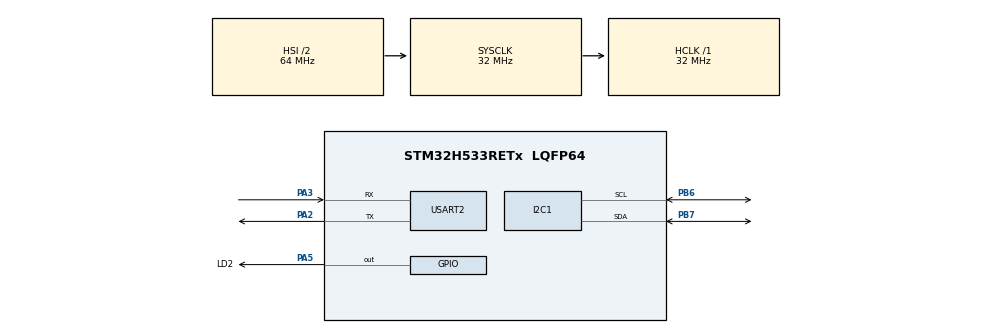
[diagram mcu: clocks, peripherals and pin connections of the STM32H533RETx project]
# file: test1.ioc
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BOOTPATH.BootPathName=LEGACY
BOOTPATH.UserSelectedBootPath=LEGACY
CORTEX_M33_NS.userName=CORTEX_M33
I2C1.Timing=0x00707CBB
Mcu.Family=STM32H5
Mcu.Name=STM32H533RETx
Mcu.Package=LQFP64
NUCLEO-H533RE.LD4=false
NUCLEO-H533RE.VCP=false
NVIC.I2C1_EV_IRQn=true\:0\:0\:false\:false\:true\:true\:true\:true
NVIC.PriorityGroup=NVIC_PRIORITYGROUP_4
NVIC.USART2_IRQn=true\:0\:0\:false\:false\:true\:true\:true\:true
PA13(JTMS/SWDIO).GPIO_Label=SWDIO
PA13(JTMS/SWDIO).Mode=Serial_Wire
PA13(JTMS/SWDIO).Signal=DEBUG_JTMS-SWDIO
PA14(JTCK/SWCLK).GPIO_Label=SWCLK
PA14(JTCK/SWCLK).Mode=Serial_Wire
PA14(JTCK/SWCLK).Signal=DEBUG_JTCK-SWCLK
PA15(JTDI).GPIO_Label=JTDI
PA15(JTDI).Signal=DEBUG_JTDI
PA2.Mode=Asynchronous
PA2.Signal=USART2_TX
PA3.Mode=Asynchronous
PA3.Signal=USART2_RX
PA5.GPIO_Label=LD2
PA5.Signal=GPIO_Output
PB3(JTDO/TRACESWO).GPIO_Label=SWO
PB3(JTDO/TRACESWO).Signal=DEBUG_JTDO-SWO
PB6.Mode=I2C
PB6.Signal=I2C1_SCL
PB7.Mode=I2C
PB7.Signal=I2C1_SDA
ProjectManager.HeapSize=0x200
ProjectManager.StackSize=0x400
ProjectManager.TargetToolchain=STM32CubeIDE
RCC.ADCFreq_Value=32000000
RCC.AHBFreq_Value=32000000
RCC.APB1Freq_Value=32000000
RCC.APB1TimFreq_Value=32000000
RCC.APB2Freq_Value=32000000
RCC.APB2TimFreq_Value=32000000
RCC.APB3Freq_Value=32000000
RCC.CSI_VALUE=4000000
RCC.CortexFreq_Value=32000000
RCC.EPOD_VALUE=4000000
RCC.HCLKFreq_Value=32000000
RCC.HSE_VALUE=25000000
RCC.HSI48_VALUE=48000000
RCC.HSI_VALUE=64000000
RCC.LSE_VALUE=32768
RCC.LSIRC_VALUE=32000
RCC.SYSCLKFreq_VALUE=32000000
RCC.USBFreq_Value=48000000
RCC.VCOOutputFreq_Value=516000000
USART2.VirtualMode-Asynchronous=VM_ASYNC
VP_BOOTPATH_VS_BOOTPATH.Mode=BP_Activate
VP_CORTEX_M33_NS_VS_Hclk.Mode=Hclk_Mode
VP_MEMORYMAP_VS_MEMORYMAP.Mode=CurAppReg
VP_NUCLEO-H533RE_VS_BSP_COMMON.Mode=COMMON
VP_PWR_VS_LPOM.Mode=PowerOptimisation
VP_PWR_VS_SECSignals.Mode=Security/Privilege
board=NUCLEO-H533RE

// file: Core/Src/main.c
/* USER CODE BEGIN Header */
/**
  ******************************************************************************
  * @file           : main.c
  * @brief          : Main program body
  ******************************************************************************
  */
/* USER CODE END Header */

#include "main.h"

/* USER CODE BEGIN Includes */
#include "main.h"
#include "stm32h5xx_hal.h"
#include "stdarg.h"
#include "string.h"
#include <stdio.h>
#include <stdlib.h>
#include "ssd1306.h"
#include "ssd1306_fonts.h"
/* USER CODE END Includes */

/* USER CODE BEGIN PD */
#define CZEKAM_NA_START 1
#define ZBIERAM_DANE    2

#define USART_TXBUF_LEN 300
#define USART_RXBUF_LEN 300

#define MAX_FRAME_LEN 270
#define MOJ_ADRES "STM"
/* USER CODE END PD */

extern UART_HandleTypeDef huart2;
extern I2C_HandleTypeDef hi2c1; // Dodany uchwyt I2C dla ekranu

/* USER CODE BEGIN PV */
// Bufor nadawczy (TX)
__IO uint8_t USART_TxBuf[USART_TXBUF_LEN];
__IO int USART_TX_Empty = 0; // Indeks zapisu do bufora
__IO int USART_TX_Busy = 0;  // Indeks wysyłania przez UART

// Bufor odbiorczy (RX) - Bufor kołowy
__IO uint8_t USART_RxBuf[USART_RXBUF_LEN];
__IO int USART_RX_Head = 0; // Indeks zapisu (Interrupt)
__IO int USART_RX_Tail = 0; // Indeks odczytu (Main Loop)

// Zmienne protokołu
char bufor_ramki[MAX_FRAME_LEN];
uint16_t indeks_ramki = 0;
uint8_t stan_programu = CZEKAM_NA_START;
/* USER CODE END PV */

void SystemClock_Config(void);
void MX_GPIO_Init(void);
void MX_USART2_UART_Init(void);
void MX_I2C1_Init(void); // Dodany prototyp I2C
/* USER CODE BEGIN PFP */

// Sprawdza czy w buforze kołowym są nowe dane
uint8_t USART_kbhit(void)
{
    return (USART_RX_Head != USART_RX_Tail);
}

// Pobiera jeden znak z bufora kołowego
int16_t USART_getchar(void)
{
    if (USART_RX_Head != USART_RX_Tail)
    {
        uint8_t tmp = USART_RxBuf[USART_RX_Tail];
        USART_RX_Tail = (USART_RX_Tail + 1) % USART_RXBUF_LEN;
        return tmp;
    }
    return -1;
}

// Wysyłanie sformatowane (printf przez UART)
void USART_fsend(char *format, ...)
{
    char tmp_rs[300];
    va_list arglist;
    va_start(arglist, format);
    vsprintf(tmp_rs, format, arglist);
    va_end(arglist);

    int idx = USART_TX_Empty;
    for (int i = 0; i < strlen(tmp_rs); i++)
    {
        USART_TxBuf[idx] = tmp_rs[i];
        idx = (idx + 1) % USART_TXBUF_LEN;
    }

    __disable_irq();
    // Jeśli UART nie wysyła teraz niczego, zacznij wysyłanie pierwszego znaku
    if ((USART_TX_Empty == USART_TX_Busy) && (__HAL_UART_GET_FLAG(&huart2, UART_FLAG_TXE) == SET))
    {
        USART_TX_Empty = idx;
        uint8_t tmp = USART_TxBuf[USART_TX_Busy];
        USART_TX_Busy = (USART_TX_Busy + 1) % USART_TXBUF_LEN;
        HAL_UART_Transmit_IT(&huart2, &tmp, 1);
    }
    else
    {
        USART_TX_Empty = idx;
    }
    __enable_irq();
}

uint16_t ObliczCRC(const char *dane, int dlugosc) {
    uint16_t crc = 0x0000;
    for (int i = 0; i < dlugosc; i++) {
        crc ^= ((uint16_t)dane[i] << 8);
        for (int j = 0; j < 8; j++) {
            if (crc & 0x8000) crc = (crc << 1) ^ 0x8005;
            else crc <<= 1;
        }
    }
    return crc;
}

void WyslijBlad(const char *adresat, const char *kod_bledu) {
    uint16_t crc = ObliczCRC(kod_bledu, strlen(kod_bledu));
    USART_fsend(">%s%s%03d%s%04X<", MOJ_ADRES, adresat, (int)strlen(kod_bledu), kod_bledu, crc);
}

/* --- Funkcja pomocnicza do animacji --- */
void AnimacjaPrzewijania(int x1, int y1, int x2, int y2, int predkosc, char *tekst) {
    FontDef font = Font_7x10;

    int szerokosc_tekstu = strlen(tekst) * font.FontWidth;
    int delay_ms = 100 - (predkosc * 10);
    if (delay_ms < 5) delay_ms = 5;

    int start_x = x2;
    int end_x = x1 - szerokosc_tekstu;

    for (int curr_x = start_x; curr_x >= end_x; curr_x--) {
        // Czyścimy okno
        ssd1306_FillRectangle(x1, y1, x2, y2, Black);

        // Rysujemy tekst w nowej pozycji
        ssd1306_SetCursor(curr_x, y1);
        ssd1306_WriteString(tekst, font, White);

        ssd1306_UpdateScreen();
        HAL_Delay(delay_ms);

        // Przerwanie animacji
        if (USART_kbhit()) break;
    }
    // Sprzątanie po animacji
    ssd1306_FillRectangle(x1, y1, x2, y2, Black);
    ssd1306_UpdateScreen();
}

void WykonajKomende(char *dane, char *nadawca) {
    if (strncmp(dane, "CLEAR", 5) == 0) {
        ssd1306_Fill(Black);
        ssd1306_UpdateScreen();
        return;
    }

    if (strlen(dane) < 1) {
        WyslijBlad(nadawca, "WCMMD");
        return;
    }

    char naglowek = dane[0];

    // --- FIGURY ---
    if (naglowek == 'F') {
        char figura = dane[1];
        char tryb = dane[2];
        char bX[4] = {0}, bY[3] = {0}, bR[3] = {0};

        if (figura == 'C') { // Koło
            strncpy(bX, dane + 3, 3); int x = atoi(bX);
            strncpy(bY, dane + 6, 2); int y = atoi(bY);
            strncpy(bR, dane + 8, 2); int r = atoi(bR);
            if (tryb == 'P') ssd1306_FillCircle(x, y, r, White);
            else ssd1306_DrawCircle(x, y, r, White);
        }
        else if (figura == 'R') { // Prostokąt
            char bX2[4] = {0}, bY2[3] = {0};
            strncpy(bX, dane + 3, 3); int x1 = atoi(bX);
            strncpy(bY, dane + 6, 2); int y1 = atoi(bY);
            strncpy(bX2, dane + 8, 3); int x2 = atoi(bX2);
            strncpy(bY2, dane + 11, 2); int y2 = atoi(bY2);
            if (tryb == 'P') ssd1306_FillRectangle(x1, y1, x2, y2, White);
            else ssd1306_DrawRectangle(x1, y1, x2, y2, White);
        }
        else if (figura == 'T') { // Trójkąt
            char bX2[4]={0}, bY2[3]={0}, bX3[4]={0}, bY3[3]={0};
            strncpy(bX, dane + 3, 3); int x1 = atoi(bX);
            strncpy(bY, dane + 6, 2); int y1 = atoi(bY);
            strncpy(bX2, dane + 8, 3); int x2 = atoi(bX2);
            strncpy(bY2, dane + 11, 2); int y2 = atoi(bY2);
            strncpy(bX3, dane + 13, 3); int x3 = atoi(bX3);
            strncpy(bY3, dane + 16, 2); int y3 = atoi(bY3);
            if (tryb == 'P') ssd1306_DrawFilledTriangle(x1, y1, x2, y2, x3, y3, White);
            else ssd1306_DrawTriangle(x1, y1, x2, y2, x3, y3, White);
        }
        ssd1306_UpdateScreen();
    }
    // --- TEKST ---
    else if (naglowek == 'T') {
        char numer_czcionki = dane[1];
        char kod_wielkosci[4] = {0};
        strncpy(kod_wielkosci, dane + 2, 3);

        char bX[4] = {0}, bY[3] = {0};
        strncpy(bX, dane + 5, 3); int x = atoi(bX);
        strncpy(bY, dane + 8, 2); int y = atoi(bY);
        char *txt = dane + 10;

        ssd1306_SetCursor(x, y);

        // wskaznik
        FontDef *wybrany_font;

        // --- LOGIKA MAPOWANIA ---

        if (numer_czcionki == '1') {
            if (strncmp(kod_wielkosci, "SMA", 3) == 0)      wybrany_font = &Font_6x8;
            else if (strncmp(kod_wielkosci, "MED", 3) == 0) wybrany_font = &Font_7x10;
            else                                            wybrany_font = &Font_11x18;
        }

        else if (numer_czcionki == '2') {
            if (strncmp(kod_wielkosci, "SMA", 3) == 0)      wybrany_font = &Font_7x10;
            else if (strncmp(kod_wielkosci, "MED", 3) == 0) wybrany_font = &Font_11x18;
            else                                            wybrany_font = &Font_16x26;
        }

        else if (numer_czcionki == '3') {
            if (strncmp(kod_wielkosci, "SMA", 3) == 0)      wybrany_font = &Font_11x18;
            else if (strncmp(kod_wielkosci, "MED", 3) == 0) wybrany_font = &Font_16x24;
            else                                            wybrany_font = &Font_16x26;
        }

        else if (numer_czcionki == '4') {
            if (strncmp(kod_wielkosci, "SMA", 3) == 0)      wybrany_font = &Font_6x8;
            else if (strncmp(kod_wielkosci, "MED", 3) == 0) wybrany_font = &Font_16x24;
            else                                            wybrany_font = &Font_16x26;
        }
        else {
            //  adres (&)
            wybrany_font = &Font_7x10;
        }

        ssd1306_WriteString(txt, *wybrany_font, White);
        ssd1306_UpdateScreen();
    }
    // --- PRZEWIJANIE ---
    else if (naglowek == 'S') {
        if (strlen(dane) < 12) { WyslijBlad(nadawca, "WRLEN"); return; }

        int predkosc = dane[1] - '0';
        if (predkosc < 0 || predkosc > 9) predkosc = 5;

        char bX1[4] = {0}, bY1[3] = {0}, bX2[4] = {0}, bY2[3] = {0};

        strncpy(bX1, dane + 2, 3);
        strncpy(bY1, dane + 5, 2);
        strncpy(bX2, dane + 7, 3);
        strncpy(bY2, dane + 10, 2);

        int x1 = atoi(bX1);
        int y1 = atoi(bY1);
        int x2 = atoi(bX2);
        int y2 = atoi(bY2);
        char *tekst_scroll = dane + 12;

        AnimacjaPrzewijania(x1, y1, x2, y2, predkosc, tekst_scroll);
    }

    else {
        WyslijBlad(nadawca, "WCMMD");
    }
}

void AnalizujRamke(char *ramka, int len) {
    if (len < 13) return;
    char nadawca[4] = {0}, odbiorca[4] = {0}, len_str[4] = {0}, crc_str[5] = {0};

    strncpy(nadawca, ramka, 3);
    strncpy(odbiorca, ramka + 3, 3);
    strncpy(len_str, ramka + 6, 3);

    if (strcmp(odbiorca, MOJ_ADRES) != 0) return;
    if ((len_str[0] < '0' || len_str[0] > '9') || (len_str[1] < '0' || len_str[1] > '9') || (len_str[2] < '0' || len_str[2] > '9')) return;
    int d_len = atoi(len_str);
    if (d_len != (len - 13)) { WyslijBlad(nadawca, "WRLEN"); return; }

    char *dane = ramka + 9;
    strncpy(crc_str, ramka + 9 + d_len, 4);
    if (((crc_str[0] < '0' || crc_str[0] > '9') && (crc_str[0] < 'A' || crc_str[0] > 'F'))
    		|| ((crc_str[1] < '0' || crc_str[1] > '9') && (crc_str[1] < 'A' || crc_str[1] > 'F'))
			|| ((crc_str[2] < '0' || crc_str[2] > '9') && (crc_str[2] < 'A' || crc_str[2] > 'F'))
			|| ((crc_str[3] < '0' || crc_str[3] > '9') && (crc_str[3] < 'A' || crc_str[3] > 'F'))) return;
    uint16_t odebrane_crc = (uint16_t)strtol(crc_str, NULL, 16);

    if (ObliczCRC(dane, d_len) != odebrane_crc) {
        WyslijBlad(nadawca, "WRSUM");
        return;
    }

    dane[d_len] = '\0';
    WykonajKomende(dane, nadawca);
}

// Callback przerwania po wysłaniu znaku
void HAL_UART_TxCpltCallback(UART_HandleTypeDef *huart)
{
    if (huart == &huart2 && USART_TX_Empty != USART_TX_Busy)
    {
        uint8_t tmp = USART_TxBuf[USART_TX_Busy];
        USART_TX_Busy = (USART_TX_Busy + 1) % USART_TXBUF_LEN;
        HAL_UART_Transmit_IT(&huart2, &tmp, 1);
    }
}

// Callback przerwania po odebraniu znaku
void HAL_UART_RxCpltCallback(UART_HandleTypeDef *huart)
{
    if (huart == &huart2)
    {
        USART_RX_Head = (USART_RX_Head + 1) % USART_RXBUF_LEN;
        HAL_UART_Receive_IT(&huart2, (uint8_t*)&USART_RxBuf[USART_RX_Head], 1);
    }
}
/* USER CODE END PFP */

int main(void)
{
  HAL_Init();
  SystemClock_Config();
  MX_GPIO_Init();
  MX_USART2_UART_Init();
  MX_I2C1_Init(); // Inicjalizacja I2C

  /* USER CODE BEGIN 2 */
  // Start odbioru UART
  HAL_UART_Receive_IT(&huart2, (uint8_t*)&USART_RxBuf[USART_RX_Head], 1);

  ssd1306_Init();
  ssd1306_Fill(Black);
  ssd1306_UpdateScreen();
  USART_fsend("STM GOTOWY\n");
  /* USER CODE END 2 */

  uint8_t znak;
  while (1)
  {
      while (USART_kbhit())
      {
          znak = USART_getchar();
          if (znak == 0) {
              stan_programu = CZEKAM_NA_START;
          }
          if (znak == '>') {
              indeks_ramki = 0;
              stan_programu = ZBIERAM_DANE;
          }
          else if (stan_programu == ZBIERAM_DANE) {
              if (znak == '<') {
                  bufor_ramki[indeks_ramki] = '\0';
                  AnalizujRamke(bufor_ramki, indeks_ramki);
                  stan_programu = CZEKAM_NA_START;
              }
              else  {
            	  bufor_ramki[indeks_ramki++] = znak;
            	  if  (indeks_ramki < MAX_FRAME_LEN - 1) {
                      stan_programu = CZEKAM_NA_START;
            	  }
              }
          }
      }
  }
}

/* --- KONFIGURACJA SPRZĘTOWA --- */

void SystemClock_Config(void)
{
  RCC_OscInitTypeDef RCC_OscInitStruct = {0};
  RCC_ClkInitTypeDef RCC_ClkInitStruct = {0};

  RCC->APB3ENR |= (1UL << 28); // Bezpośrednie włączenie zegara PWR w rejestrze APB3
  __IO uint32_t tmpreg = RCC->APB3ENR; // Krótkie opóźnienie dla stabilizacji
  (void)tmpreg;
  __HAL_PWR_VOLTAGESCALING_CONFIG(PWR_REGULATOR_VOLTAGE_SCALE3);
  while(!__HAL_PWR_GET_FLAG(PWR_FLAG_VOSRDY)) {}

  RCC_OscInitStruct.OscillatorType = RCC_OSCILLATORTYPE_HSI;
  RCC_OscInitStruct.HSIState = RCC_HSI_ON;
  RCC_OscInitStruct.HSIDiv = RCC_HSI_DIV2;
  RCC_OscInitStruct.HSICalibrationValue = RCC_HSICALIBRATION_DEFAULT;
  RCC_OscInitStruct.PLL.PLLState = RCC_PLL_NONE;
  if (HAL_RCC_OscConfig(&RCC_OscInitStruct) != HAL_OK) { Error_Handler(); }

  RCC_ClkInitStruct.ClockType = RCC_CLOCKTYPE_HCLK|RCC_CLOCKTYPE_SYSCLK|RCC_CLOCKTYPE_PCLK1|RCC_CLOCKTYPE_PCLK2|RCC_CLOCKTYPE_PCLK3;
  RCC_ClkInitStruct.SYSCLKSource = RCC_SYSCLKSOURCE_HSI;
  if (HAL_RCC_ClockConfig(&RCC_ClkInitStruct, FLASH_LATENCY_1) != HAL_OK) { Error_Handler(); }
}

void MX_GPIO_Init(void)
{
  GPIO_InitTypeDef GPIO_InitStruct = {0};
  __HAL_RCC_GPIOA_CLK_ENABLE();
  __HAL_RCC_GPIOB_CLK_ENABLE();
  HAL_GPIO_WritePin(GPIOA, GPIO_PIN_5, GPIO_PIN_RESET);
  GPIO_InitStruct.Pin = GPIO_PIN_5;
  GPIO_InitStruct.Mode = GPIO_MODE_OUTPUT_PP;
  GPIO_InitStruct.Pull = GPIO_NOPULL;
  GPIO_InitStruct.Speed = GPIO_SPEED_FREQ_LOW;
  HAL_GPIO_Init(GPIOA, &GPIO_InitStruct);
}

void Error_Handler(void)
{
  __disable_irq();
  while (1) {}
}
